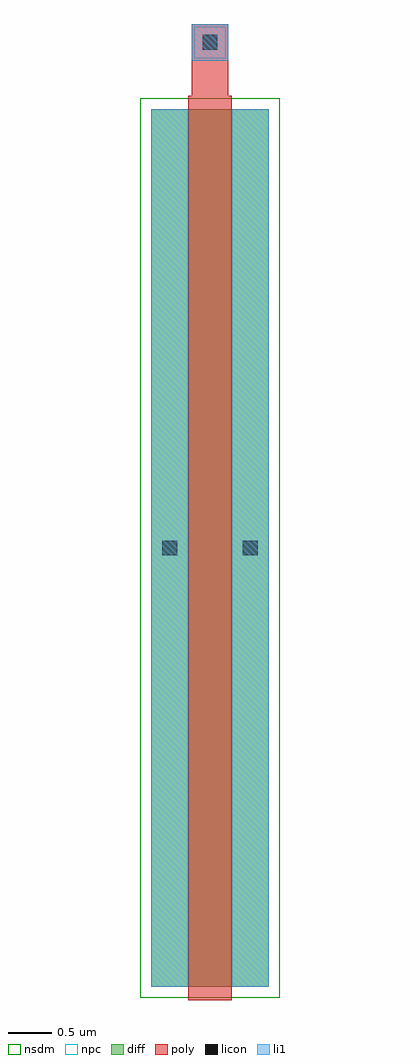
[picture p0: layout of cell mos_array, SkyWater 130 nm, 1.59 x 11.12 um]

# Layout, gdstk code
import gdstk
lib = gdstk.Library(unit=1e-6, precision=1e-09)
def R(c, l, rs):  # rectangles x0, y0, x1, y1
    for r in rs: c.add(gdstk.rectangle(r[:2], r[2:], *l))
diff = (65, 20)
poly = (66, 20)
licon = (66, 44)
li1 = (67, 20)
nsdm = (93, 44)
npc = (95, 20)

mos_array = lib.new_cell('mos_array')
R(mos_array, diff, [(0,0,1.34,10)])
R(mos_array, poly, [(0.42,-0.15,0.92,10), (0.42,10,0.92,10.15), (0.42,10,0.92,10.15), (0.46,10.15,0.88,10.97)])
R(mos_array, licon, [(0.125,4.915,0.295,5.085), (1.045,4.915,1.215,5.085), (0.585,10.675,0.755,10.845)])
R(mos_array, li1, [(0,0,0.42,10), (0.92,0,1.34,10), (0.46,10.55,0.88,10.97)])
R(mos_array, nsdm, [(-0.125,-0.125,1.465,10.125)])
R(mos_array, npc, [(0.49,10.58,0.85,10.94)])

lib.write_gds('mos_array.gds')
